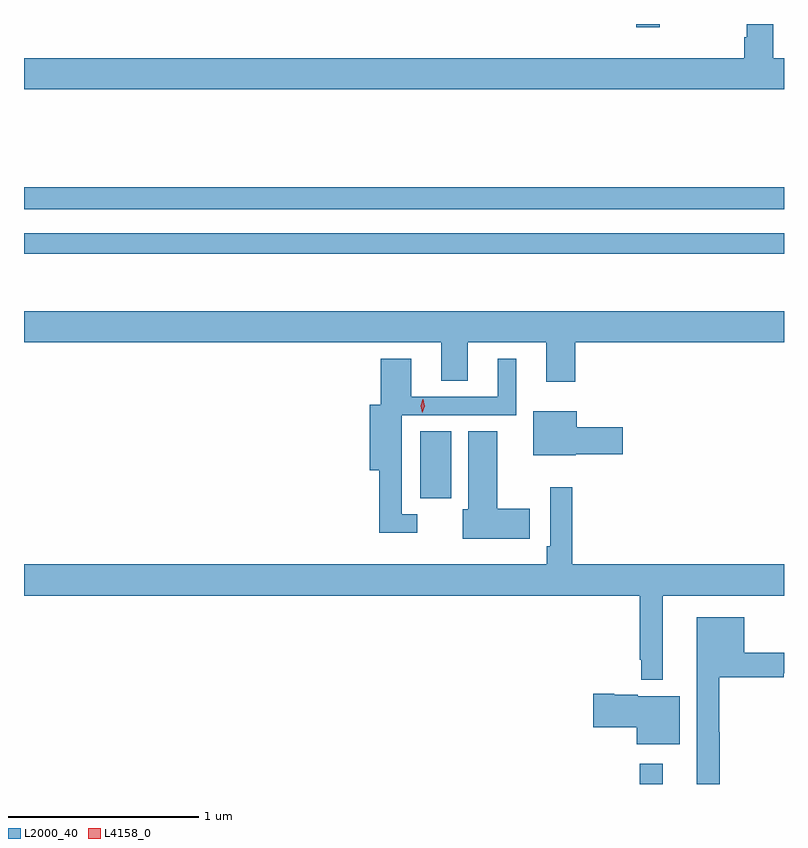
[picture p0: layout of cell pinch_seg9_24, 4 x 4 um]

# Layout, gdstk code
import gdstk
lib = gdstk.Library(unit=1e-6, precision=1e-09)
def R(c, l, rs):  # rectangles x0, y0, x1, y1
    for r in rs: c.add(gdstk.rectangle(r[:2], r[2:], *l))
def P(c, l, *ps):  # polygons
    for p in ps: c.add(gdstk.Polygon(p, *l))
L2000_40 = (2000, 40)
L4158_0 = (4158, 0)

pinch_seg9_24 = lib.new_cell('pinch_seg9_24')
R(pinch_seg9_24, L2000_40, [(948.372,1240.716,948.493,1240.822), (947.216,1242.219,947.38,1242.572), (945.131,1243.506,949.131,1243.614), (945.131,1243.74,949.131,1243.856), (948.353,1244.7,948.478,1244.716)])
P(pinch_seg9_24, L2000_40, [(949.131,1244.536),(949.075,1244.536),(949.075,1244.716),(948.936,1244.716),(948.936,1244.646),(948.923,1244.646),(948.923,1244.536),(945.131,1244.536),(945.131,1244.372),(949.131,1244.372)],
  [(945.131,1243.04),(947.327,1243.04),(947.327,1242.838),(947.467,1242.838),(947.467,1243.04),(947.879,1243.04),(947.879,1242.834),(948.032,1242.834),(948.032,1243.04),(949.131,1243.04),(949.131,1243.204),(945.131,1243.204)],
  [(947.2,1242.135),(947.118,1242.135),(947.118,1242.657),(947.722,1242.657),(947.722,1242.955),(947.624,1242.955),(947.624,1242.753),(947.17,1242.753),(947.17,1242.955),(947.009,1242.955),(947.009,1242.712),(946.952,1242.712),(946.952,1242.368),(947.002,1242.368),(947.002,1242.038),(947.2,1242.038)],
  [(948.036,1242.452),(948.283,1242.452),(948.283,1242.594),(948.04,1242.594),(948.04,1242.679),(947.81,1242.679),(947.81,1242.446),(948.036,1242.446)],
  [(947.794,1242.166),(947.623,1242.166),(947.623,1242.572),(947.468,1242.572),(947.468,1242.162),(947.441,1242.162),(947.441,1242.008),(947.794,1242.008)],
  [(948.493,1241.708),(949.131,1241.708),(949.131,1241.872),(948.017,1241.872),(948.017,1242.277),(947.901,1242.277),(947.901,1241.968),(947.881,1241.968),(947.881,1241.872),(945.131,1241.872),(945.131,1241.708),(948.372,1241.708),(948.372,1241.371),(948.379,1241.371),(948.379,1241.264),(948.493,1241.264)],
  [(948.793,1240.989),(948.79,1240.989),(948.79,1241.278),(949.13,1241.278),(949.13,1241.298),(949.131,1241.298),(949.131,1241.407),(948.922,1241.407),(948.922,1241.593),(948.671,1241.593),(948.671,1240.716),(948.793,1240.716)],
  [(948.583,1241.179),(948.36,1241.179),(948.36,1241.185),(948.238,1241.185),(948.238,1241.192),(948.126,1241.192),(948.126,1241.014),(948.356,1241.014),(948.356,1240.925),(948.583,1240.925)])
P(pinch_seg9_24, L4158_0, [(947.227,1242.67),(947.227,1242.67),(947.219,1242.706),(947.23,1242.741),(947.23,1242.741),(947.231,1242.741),(947.239,1242.705),(947.228,1242.67)])

lib.write_gds('pinch_seg9_24.gds')
